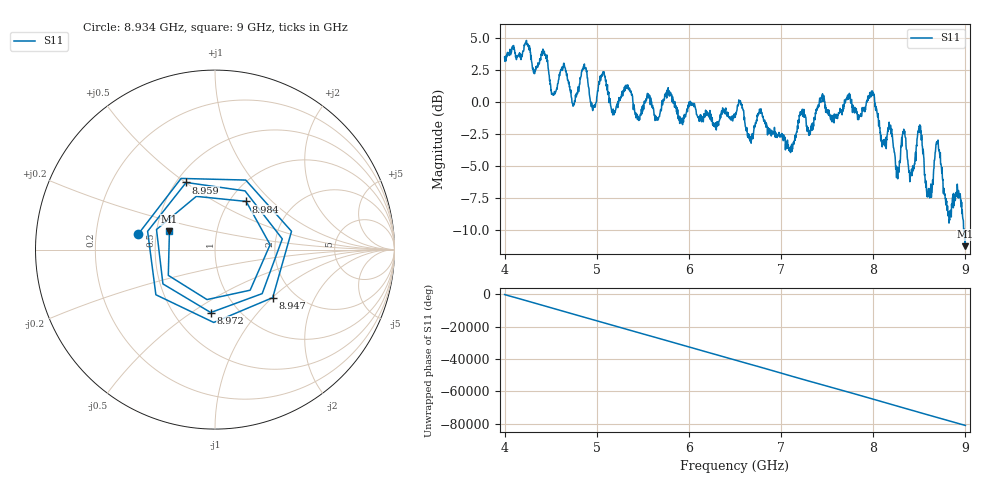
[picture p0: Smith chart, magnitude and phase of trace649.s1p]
! Created with skrf 1.8.0 (http://scikit-rf.org).
# Hz S RI R 50.0
!freq ReS11 ImS11
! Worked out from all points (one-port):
!   1601 points, 4 GHz to 9 GHz, reference 50 ohm
!   lowest |S11| = -11.2 dB at 9 GHz (marker M1), VSWR 1.75, Z = 29.2 + j6.51 ohm
!   |S11| at or under -10 dB: 8.980811 GHz to 8.982032 GHz (1.221 MHz wide, 0.0136 % of centre); 8.985201 GHz to end of sweep
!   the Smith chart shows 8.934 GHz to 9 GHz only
!   S11 on the Smith chart (normalised r, x): 8.934 GHz: 0.40, +0.08; 8.947 GHz: 1.55, -1.01; 8.959 GHz: 0.56, +0.50; 8.972 GHz: 0.75, -0.60; 8.984 GHz: 1.19, +0.71; 9 GHz: 0.58, +0.13
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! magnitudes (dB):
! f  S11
! 4 GHz  3.5
! 4.428 GHz  3.8
! 4.531 GHz  0.6
! 4.625 GHz  2.8
! 4.747 GHz  -0.2
! 4.862 GHz  2.9
! 4.959 GHz  -0.5
! 5.062 GHz  2.1
! 5.25 GHz  0.1
! 5.875 GHz  -0.9
! 6.5 GHz  -1.0
! 7.125 GHz  -3.7
! 7.222 GHz  -0.8
! 7.75 GHz  0.6
! 7.988 GHz  0.5
! 8.106 GHz  -3.2
! 8.375 GHz  -4.5
! 8.422 GHz  -5.6
! 8.503 GHz  -1.9
! 8.597 GHz  -6.8
! 8.697 GHz  -3.0
! 8.812 GHz  -8.9
! 8.934 GHz  -7.2
! 8.947 GHz  -7.6
! 8.959 GHz  -7.8
! 8.972 GHz  -9.1
! 8.984 GHz  -9.9
! 9 GHz  -11.2
